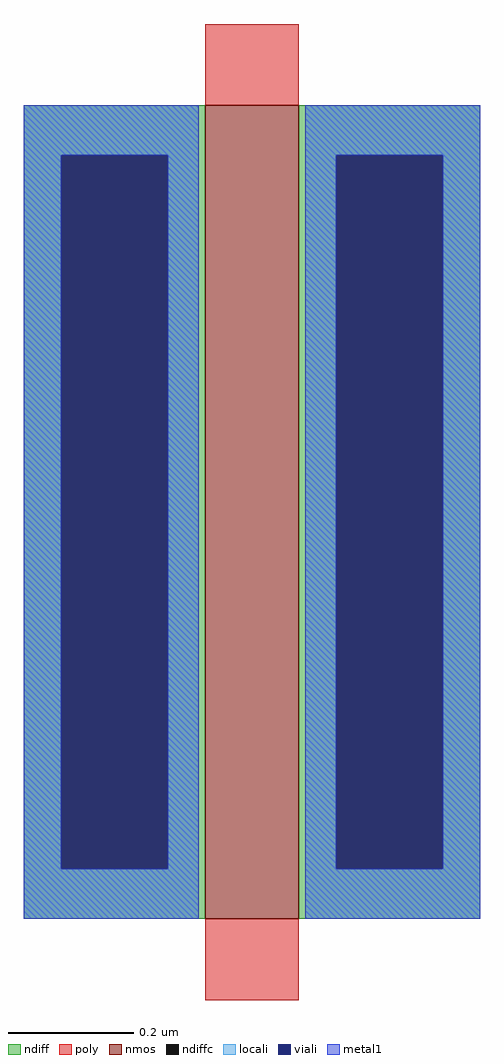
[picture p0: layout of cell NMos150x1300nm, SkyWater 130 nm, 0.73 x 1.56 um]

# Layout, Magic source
magic
tech sky130A
<< nmos >>
rect 0 0 15 130
<< ndiff >>
rect -29 122 0 130
rect -29 8 -23 122
rect -6 8 0 122
rect -29 0 0 8
rect 15 122 44 130
rect 15 8 21 122
rect 38 8 44 122
rect 15 0 44 8
<< ndiffc >>
rect -23 8 -6 122
rect 21 8 38 122
<< poly >>
rect 0 130 15 143
rect 0 -13 15 0
<< locali >>
rect -29 122 -1 130
rect -29 8 -23 122
rect -6 8 -1 122
rect -29 0 -1 8
rect 16 122 44 130
rect 16 8 21 122
rect 38 8 44 122
rect 16 0 44 8
<< viali >>
rect -23 8 -6 122
rect 21 8 38 122
<< metal1 >>
rect -29 122 -1 130
rect -29 8 -23 122
rect -6 8 -1 122
rect -29 0 -1 8
rect 16 122 44 130
rect 16 8 21 122
rect 38 8 44 122
rect 16 0 44 8
<< end >>
